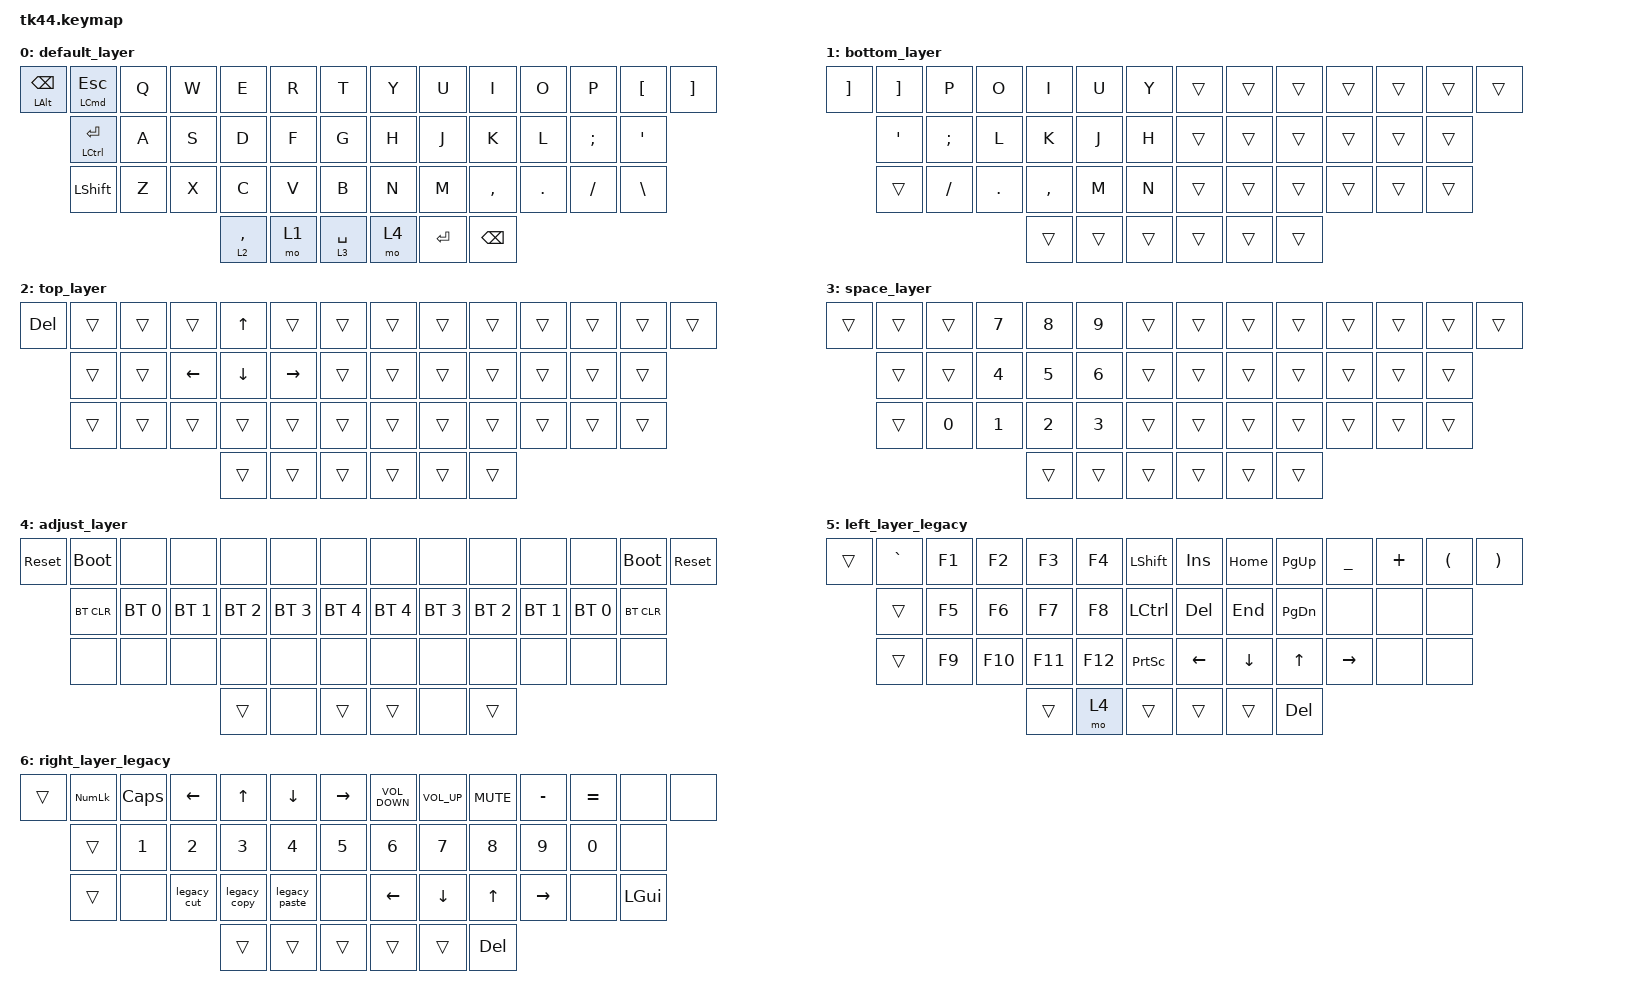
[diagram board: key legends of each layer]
/*
 * Copyright (c) 2022 The ZMK Contributors
 *
 * SPDX-License-Identifier: MIT
 */

#include <behaviors.dtsi>
#include <dt-bindings/zmk/bt.h>
#include <dt-bindings/zmk/keys.h>

#define DEF 0
#define LWR 1
#define RSE 2
#define ADJ 3

&lt { quick_tap_ms = <200>; };

&mt { quick_tap_ms = <200>; };

/ {
    macros {
        legacy_cut: legacy_cut {
            compatible = "zmk,behavior-macro";
            label = "LEGACY_CUT";
            #binding-cells = <0>;
            bindings =
                <&macro_press>,
                <&kp LEFT_SHIFT &kp DELETE>,
                <&macro_release>;
        };

        legacy_paste: legacy_paste {
            compatible = "zmk,behavior-macro";
            label = "LEGACY_PASTE";
            #binding-cells = <0>;
            bindings =
                <&macro_press>,
                <&kp LEFT_SHIFT &kp INS>,
                <&macro_release>;
        };

        legacy_copy: legacy_copy {
            compatible = "zmk,behavior-macro";
            label = "LEGACY_COPY";
            #binding-cells = <0>;
            bindings = <&macro_release>, <&kp LCTRL &kp INS>, <&macro_press>;
        };
    };

    keymap {
        compatible = "zmk,keymap";

        default_layer {
            // -----------------------------------------------------------------------------------------
            // |  GUI |   ~  |  Q  |  W  |  E  |  R  |  T  |   |  Y  |  U   |  I  |  O  |  P  |  [   | GUI/] |
            //        | CTRL |  A  |  S  |  D  |  F  |  G  |   |  H  |  J   |  K  |  L  |  ;  |CTRL/'|
            //        | LALT |  Z  |  X  |  C  |  V  |  B  |   |  N  |  M   |  ,  |  .  |  /  | RALT |
            //                           | RSE | SPC | LWR |   | LWR | BKSP | RSE |

            bindings = <
&mt LEFT_ALT BACKSPACE  &mt LEFT_COMMAND ESC  &kp Q  &kp W  &kp E        &kp R  &kp T          &kp Y  &kp U      &kp I          &kp O    &kp P     &kp LBKT       &kp RBKT
                        &mt LCTRL ENTER       &kp A  &kp S  &kp D        &kp F  &kp G          &kp H  &kp J      &kp K          &kp L    &kp SEMI  &kp SQT
                        &kp LSHIFT            &kp Z  &kp X  &kp C        &kp V  &kp B          &kp N  &kp M      &kp COMMA      &kp DOT  &kp FSLH  &kp BACKSLASH
                                                            &lt 2 COMMA  &mo 1  &lt 3 SPACE    &mo 4  &kp ENTER  &kp BACKSPACE
            >;
        };

        bottom_layer {
            bindings = <
&kp RBKT  &kp RBKT  &kp P     &kp O    &kp I      &kp U   &kp Y     &trans  &trans  &trans  &trans  &trans  &trans  &trans
          &kp APOS  &kp SEMI  &kp L    &kp K      &kp J   &kp H     &trans  &trans  &trans  &trans  &trans  &trans
          &trans    &kp FSLH  &kp DOT  &kp COMMA  &kp M   &kp N     &trans  &trans  &trans  &trans  &trans  &trans
                                       &trans     &trans  &trans    &trans  &trans  &trans
            >;
        };

        top_layer {
            bindings = <
&kp DELETE  &trans  &trans  &trans    &kp UP    &trans     &trans    &trans  &trans  &trans  &trans  &trans  &trans  &trans
            &trans  &trans  &kp LEFT  &kp DOWN  &kp RIGHT  &trans    &trans  &trans  &trans  &trans  &trans  &trans
            &trans  &trans  &trans    &trans    &trans     &trans    &trans  &trans  &trans  &trans  &trans  &trans
                                      &trans    &trans     &trans    &trans  &trans  &trans
            >;
        };

        space_layer {
            bindings = <
&trans  &trans  &trans  &kp N7  &kp N8  &kp N9  &trans    &trans  &trans  &trans  &trans  &trans  &trans  &trans
        &trans  &trans  &kp N4  &kp N5  &kp N6  &trans    &trans  &trans  &trans  &trans  &trans  &trans
        &trans  &kp N0  &kp N1  &kp N2  &kp N3  &trans    &trans  &trans  &trans  &trans  &trans  &trans
                                &trans  &trans  &trans    &trans  &trans  &trans
            >;
        };

        adjust_layer {
            // -----------------------------------------------------------------------------------------
            // | RST | BLDR |     |     |     |     |     |   |     |     |     |     |     | BLDR | RST |
            //       | BTCLR| BT0 | BT1 | BT2 | BT3 | BT4 |   | BT4 | BT3 | BT2 | BT1 | BT0 | BTCLR|
            //       |      |     |     |     |     |     |   |     |     |     |     |     |      |
            //                          |     |     |     |   |     |     |     |

            bindings = <
&sys_reset  &bootloader  &none         &none         &none         &none         &none           &none         &none         &none         &none         &none         &bootloader  &sys_reset
            &bt BT_CLR   &bt BT_SEL 0  &bt BT_SEL 1  &bt BT_SEL 2  &bt BT_SEL 3  &bt BT_SEL 4    &bt BT_SEL 4  &bt BT_SEL 3  &bt BT_SEL 2  &bt BT_SEL 1  &bt BT_SEL 0  &bt BT_CLR
            &none        &none         &none         &none         &none         &none           &none         &none         &none         &none         &none         &none
                                                     &trans        &none         &trans          &trans        &none         &trans
            >;
        };

        left_layer_legacy {
            // -----------------------------------------------------------------------------------------
            // |     |  _  |  F1 |  F2 |  F3 |  F4 |  F5 |   |  F6 |  F7 |  F8 |  F9 | F10 | F11 | F12 |
            //       |  +  |  !  |  @  |  #  |  $  |  %  |   |  ^  |  &  |  *  |  (  |  )  |  -  |
            //       |  =  |  1  |  2  |  3  |  4  |  5  |   |  6  |  7  |  8  |  9  |  0  |     |
            //                    | GUI |     | SPC |   | ENT |     | ALT |

            bindings = <
&trans  &kp GRAVE  &kp F1  &kp F2   &kp F3   &kp F4   &kp LSHIFT         &kp INSERT      &kp HOME        &kp PAGE_UP    &kp UNDERSCORE   &kp PLUS  &kp LEFT_PARENTHESIS  &kp RIGHT_PARENTHESIS
        &trans     &kp F5  &kp F6   &kp F7   &kp F8   &kp LCTRL          &kp DELETE      &kp END         &kp PAGE_DOWN  &none            &none     &none
        &trans     &kp F9  &kp F10  &kp F11  &kp F12  &kp PRINTSCREEN    &kp LEFT_ARROW  &kp DOWN_ARROW  &kp UP_ARROW   &kp RIGHT_ARROW  &none     &none
                                    &trans   &mo 4    &trans             &trans          &trans          &kp DEL
            >;
        };

        right_layer_legacy {
            // -----------------------------------------------------------------------------------------
            // |     | NMLK |  /  |  7  |  8  |  9  |  -  |   | VOLU| HOME| PRSC| PGUP| SCLK| CLCK|     |
            //       | CTRL |  *  |  4  |  5  |  6  |  +  |   | MUT | LEFT|  UP | RGHT| INS | APP |
            //       |      |  0  |  1  |  2  |  3  |  .  |   | VOLD| END | DOWN| PGDN| PAUS|     |
            //                          |     |     | ADJ |   | ADJ |     |     |

            bindings = <
&trans  &kp KP_NUM  &kp CAPSLOCK  &kp LEFT_ARROW  &kp UP_ARROW  &kp DOWN       &kp RIGHT_ARROW    &kp C_VOLUME_DOWN  &kp C_VOLUME_UP  &kp K_MUTE    &kp MINUS        &kp EQUAL     &none         &none
        &trans      &kp NUMBER_1  &kp NUMBER_2    &kp NUMBER_3  &kp NUMBER_4   &kp NUMBER_5       &kp NUMBER_6       &kp NUMBER_7     &kp NUMBER_8  &kp NUMBER_9     &kp NUMBER_0  &none
        &trans      &none         &legacy_cut     &legacy_copy  &legacy_paste  &none              &kp LEFT_ARROW     &kp DOWN_ARROW   &kp UP_ARROW  &kp RIGHT_ARROW  &none         &kp LEFT_GUI
                                                  &trans        &trans         &trans             &trans             &trans           &kp DEL
            >;
        };
    };
};
